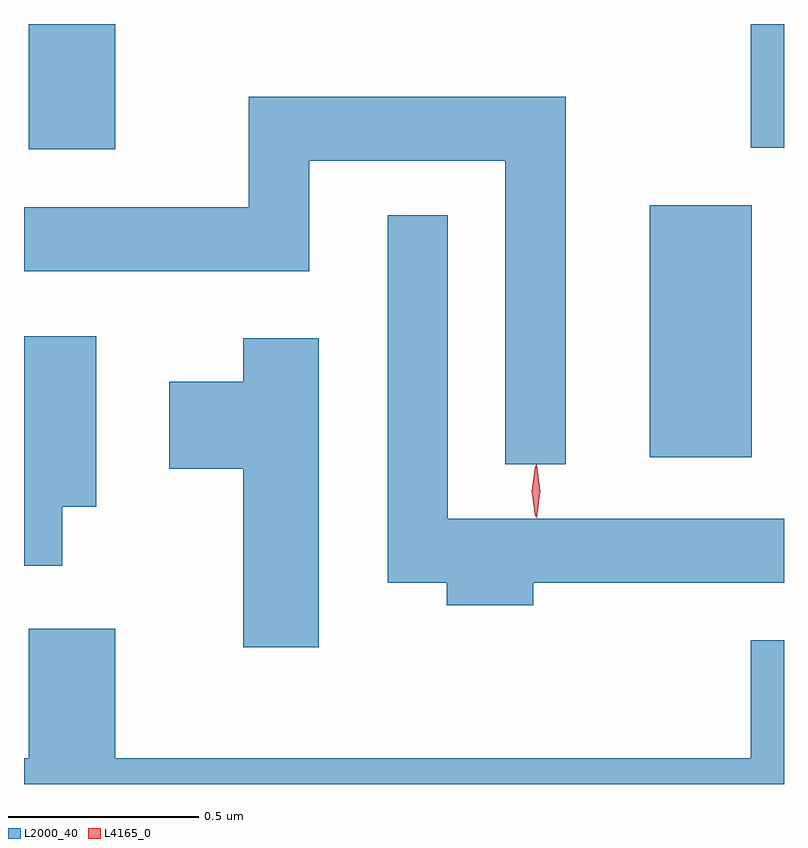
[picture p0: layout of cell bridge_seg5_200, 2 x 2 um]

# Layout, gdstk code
import gdstk
lib = gdstk.Library(unit=1e-6, precision=1e-09)
def R(c, l, rs):  # rectangles x0, y0, x1, y1
    for r in rs: c.add(gdstk.rectangle(r[:2], r[2:], *l))
def P(c, l, *ps):  # polygons
    for p in ps: c.add(gdstk.Polygon(p, *l))
L2000_40 = (2000, 40)
L4165_0 = (4165, 0)

bridge_seg5_200 = lib.new_cell('bridge_seg5_200')
R(bridge_seg5_200, L2000_40, [(1241.636,1415.676,1241.904,1416.339), (1240.001,1416.486,1240.229,1416.816), (1241.901,1416.491,1241.989,1416.816)])
P(bridge_seg5_200, L2000_40, [(1241.414,1416.624),(1240.581,1416.624),(1240.581,1416.334),(1239.989,1416.334),(1239.989,1416.166),(1240.739,1416.166),(1240.739,1416.456),(1241.256,1416.456),(1241.256,1415.658),(1241.414,1415.658)],
  [(1241.329,1415.346),(1241.989,1415.346),(1241.989,1415.514),(1241.104,1415.514),(1241.104,1416.313),(1240.946,1416.313),(1240.946,1415.346),(1241.101,1415.346),(1241.101,1415.286),(1241.329,1415.286)],
  [(1240.089,1415.546),(1240.179,1415.546),(1240.179,1415.994),(1239.989,1415.994),(1239.989,1415.391),(1240.089,1415.391)],
  [(1240.764,1415.989),(1240.566,1415.989),(1240.566,1415.874),(1240.371,1415.874),(1240.371,1415.646),(1240.566,1415.646),(1240.566,1415.176),(1240.764,1415.176)],
  [(1241.989,1415.194),(1241.901,1415.194),(1241.901,1414.884),(1240.229,1414.884),(1240.229,1415.224),(1240.001,1415.224),(1240.001,1414.884),(1239.989,1414.884),(1239.989,1414.816),(1241.989,1414.816)])
P(bridge_seg5_200, L4165_0, [(1241.337,1415.517),(1241.328,1415.587),(1241.337,1415.656),(1241.338,1415.656),(1241.338,1415.656),(1241.348,1415.587),(1241.338,1415.517),(1241.338,1415.517)],
  [(1241.334,1415.52),(1241.325,1415.586),(1241.334,1415.652),(1241.335,1415.653),(1241.336,1415.652),(1241.345,1415.586),(1241.336,1415.52),(1241.335,1415.52)])

lib.write_gds('bridge_seg5_200.gds')
